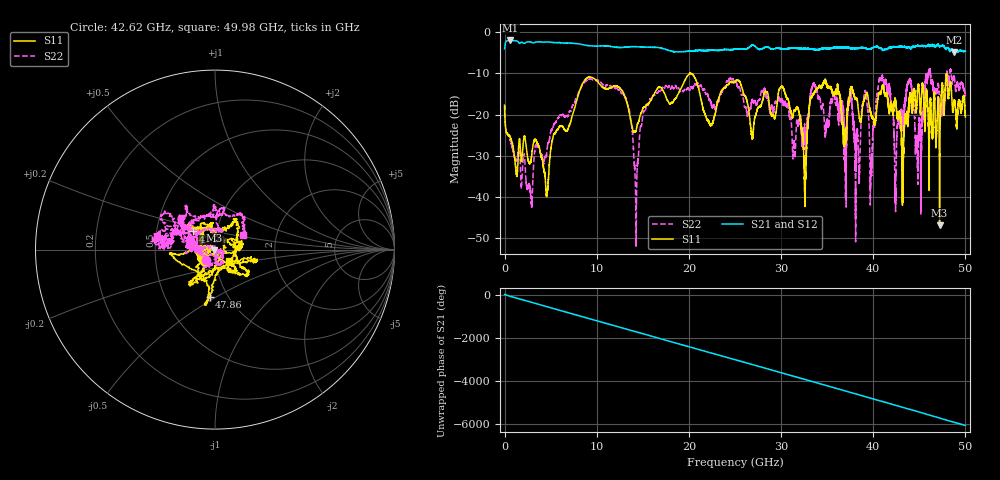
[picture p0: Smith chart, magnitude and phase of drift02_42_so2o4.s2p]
!Created with skrf (http://scikit-rf.org).
# Hz S RI R 50.0
!freq ReS11 ImS11 ReS21 ImS21 ReS12 ImS12 ReS22 ImS22
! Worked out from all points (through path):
!   10001 points, 300 kHz to 50 GHz, reference 50 ohm
!   highest |S21| = -1.99 dB at 630.3 MHz (marker M1); lowest = -4.9 dB at 48.77 GHz (marker M2)
!   group delay of S21, straight-line fit = 337 ps
!   lowest |S11| = -46.8 dB at 47.2 GHz (marker M3), VSWR 1.01, Z = 49.6 - j0.137 ohm
!   |S11| at or under -10 dB: start of sweep to 20.06 GHz; 20.20739 GHz to 20.22125 GHz (13.86 MHz wide, 0.0686 % of centre); 20.24 GHz to end of sweep (the widest 3 of 5)
!   |S22| runs from -51.9 to -8.8 dB; largest |S21 - S12| = 0.032
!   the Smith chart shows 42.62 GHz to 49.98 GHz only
!   S11 on the Smith chart (normalised r, x): 42.62 GHz: 0.88, -0.11; 43.94 GHz: 0.77, +0.16; 47.86 GHz: 0.82, -0.47; 49.98 GHz: 1.16, -0.15
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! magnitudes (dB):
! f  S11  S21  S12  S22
! 300 kHz  -17.8  -4.0  -4.0  -17.5
! 630.3 MHz  -25.6  -2.0  -2.0  -26.4
! 4.565 GHz  -39.9  -2.4  -2.4  -29.3
! 8.335 GHz  -13.0  -2.9  -2.9  -13.2
! 13.01 GHz  -15.3  -3.6  -3.7  -15.7
! 14.28 GHz  -23.8  -3.5  -3.5  -48.3
! 16.67 GHz  -13.4  -3.7  -3.7  -14.5
! 25 GHz  -12.1  -4.1  -4.1  -12.1
! 30.18 GHz  -13.3  -4.1  -4.1  -16.6
! 32.56 GHz  -39.0  -3.9  -3.9  -24.0
! 33.34 GHz  -15.8  -4.0  -4.0  -13.7
! 38.29 GHz  -16.8  -4.0  -3.9  -24.3
! 41.67 GHz  -18.4  -3.8  -3.9  -12.7
! 42.62 GHz  -21.1  -3.5  -3.5  -22.5
! 43.94 GHz  -16.0  -3.6  -3.6  -11.6
! 44.99 GHz  -14.7  -3.4  -3.3  -21.2
! 45.91 GHz  -17.7  -3.2  -3.1  -11.5
! 47.2 GHz  -46.8  -3.4  -3.4  -16.8
! 47.86 GHz  -11.5  -4.1  -4.1  -13.7
! 48.77 GHz  -16.7  -4.9  -4.8  -10.7
! 49.98 GHz  -20.0  -4.6  -4.6  -15.0
! 50 GHz  -20.6  -4.6  -4.6  -15.2
